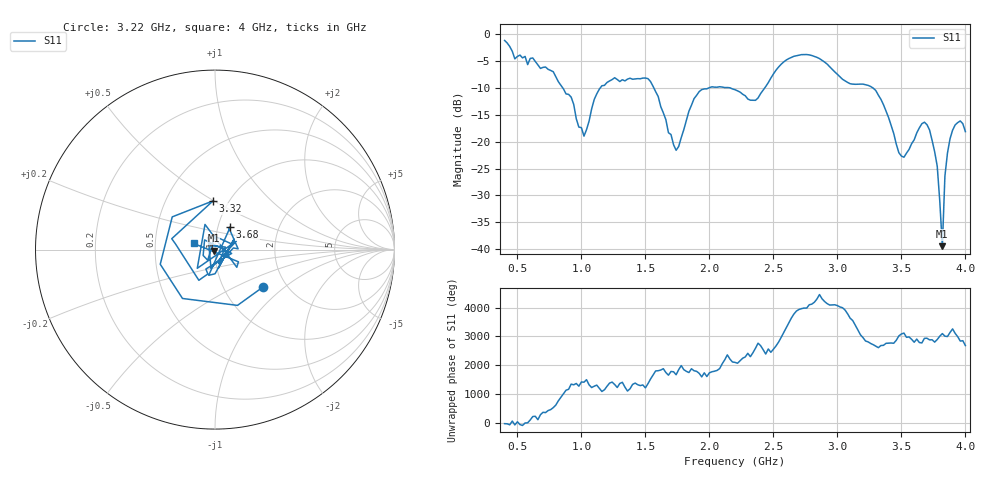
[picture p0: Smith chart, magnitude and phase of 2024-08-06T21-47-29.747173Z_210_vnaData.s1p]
!Created with skrf (http://scikit-rf.org).
# Hz S RI R 50.0
!freq ReS11 ImS11
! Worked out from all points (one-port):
!   181 points, 400 MHz to 4 GHz, reference 50 ohm
!   lowest |S11| = -39.4 dB at 3.82 GHz (marker M1), VSWR 1.02, Z = 49.2 - j0.662 ohm
!   |S11| at or under -10 dB: 855.4 MHz to 1.146 GHz (290.9 MHz wide, 29.1 % of centre); 1.566 GHz to 1.993 GHz (426.2 MHz wide, 23.9 % of centre); 3.279 GHz to end of sweep (the widest 3 of 4)
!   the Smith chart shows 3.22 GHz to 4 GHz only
!   S11 on the Smith chart (normalised r, x): 3.22 GHz: 1.54, -0.72; 3.32 GHz: 0.85, +0.50; 3.68 GHz: 1.15, +0.30; 4 GHz: 0.78, +0.05
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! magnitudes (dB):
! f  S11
! 400 MHz  -1.1
! 480 MHz  -4.6
! 620 MHz  -4.4
! 860 MHz  -10.2
! 1.02 GHz  -19.0
! 1.14 GHz  -10.2
! 1.3 GHz  -8.8
! 1.52 GHz  -8.2
! 1.72 GHz  -20.6
! 1.76 GHz  -20.9
! 1.92 GHz  -10.7
! 2.2 GHz  -10.3
! 2.36 GHz  -12.3
! 2.66 GHz  -4.1
! 2.86 GHz  -4.5
! 3.1 GHz  -9.2
! 3.22 GHz  -9.4
! 3.32 GHz  -11.3
! 3.48 GHz  -22.0
! 3.56 GHz  -21.4
! 3.68 GHz  -16.4
! 3.72 GHz  -17.8
! 3.78 GHz  -24.5
! 3.82 GHz  -39.4
! 3.84 GHz  -26.4
! 3.88 GHz  -19.4
! 3.96 GHz  -16.1
! 4 GHz  -18.1
